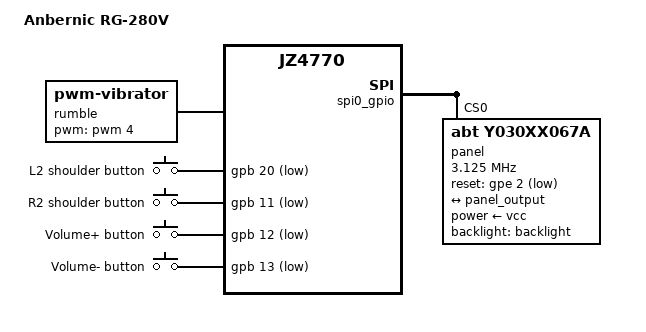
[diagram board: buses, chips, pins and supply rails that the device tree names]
// SPDX-License-Identifier: GPL-2.0
/dts-v1/;

#include "bits/gcw0-base.dtsi"

/ {
	compatible = "ylm,rg280v", "ingenic,jz4770";
	model = "Anbernic RG-280V";

	rumble: rumble {
		compatible = "pwm-vibrator";
		pwms = <&pwm 4 2000000 0>;
		pwm-names = "enable";

		pinctrl-names = "default";
		pinctrl-0 = <&pins_pwm4>;
	};
};

&joystick {
	status = "disabled";
};

&btn8 {
	gpios = <&gpb 10 GPIO_ACTIVE_LOW>;
};

&gpio_keys {
	btn13: button-13 {
		label = "L2 shoulder button";
		linux,code = <KEY_PAGEUP>;
		linux,can-disable;
		gpios = <&gpb 20 GPIO_ACTIVE_LOW>;
	};

	btn14: button-14 {
		label = "R2 shoulder button";
		linux,code = <KEY_PAGEDOWN>;
		linux,can-disable;
		gpios = <&gpb 11 GPIO_ACTIVE_LOW>;
	};

	btn15: button-15 {
		label = "Volume+ button";
		linux,code = <KEY_VOLUMEUP>;
		linux,can-disable;
		gpios = <&gpb 12 GPIO_ACTIVE_LOW>;
	};

	btn16: button-16 {
		label = "Volume- button";
		linux,code = <KEY_VOLUMEDOWN>;
		linux,can-disable;
		gpios = <&gpb 13 GPIO_ACTIVE_LOW>;
	};
};

&sound_card {
	simple-audio-card,widgets =
		"Speaker", "Speaker",
		"Headphone", "Headphones";
	simple-audio-card,routing =
		"Headphones Amp INL", "LHPOUT",
		"Headphones Amp INR", "RHPOUT",
		"Headphones", "Headphones Amp OUTL",
		"Headphones", "Headphones Amp OUTR",
		"Speaker Amp INL", "LOUT",
		"Speaker Amp INR", "ROUT",
		"Speaker", "Speaker Amp OUTL",
		"Speaker", "Speaker Amp OUTR";
	simple-audio-card,pin-switches = "Speaker";
};

&pinctrl {
	pins_pwm4: pwm4 {
		function = "pwm4";
		groups = "pwm4";
	};
};

&spi0_gpio {
	status = "okay";

	panel: panel@0 {
		compatible = "abt,y030xx067a";
		reg = <0>;

		spi-max-frequency = <3125000>;
		spi-3wire;

		reset-gpios = <&gpe 2 GPIO_ACTIVE_LOW>;

		backlight = <&backlight>;
		power-supply = <&vcc>;

		port {
			panel_input: endpoint {
				remote-endpoint = <&panel_output>;
			};
		};
	};
};

&pins_lcd {
	groups = "lcd-8bit";
};

&lcd_ports {
	lcd_port0: port@0 {
		#address-cells = <1>;
		#size-cells = <0>;
		reg = <0>;

		panel_output: endpoint@0 {
			reg = <0>;
			remote-endpoint = <&panel_input>;
		};
	};
};
